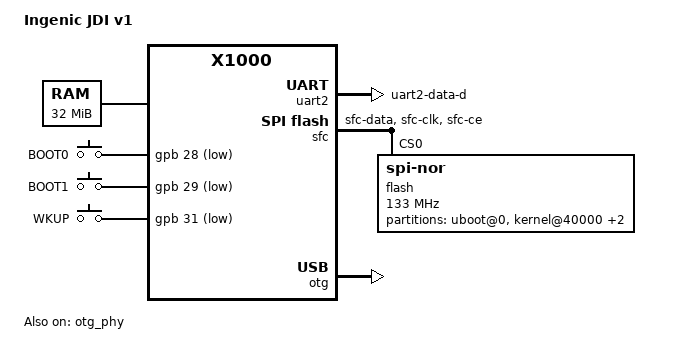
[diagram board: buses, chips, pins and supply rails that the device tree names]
// SPDX-License-Identifier: GPL-2.0
/dts-v1/;

#include "x1000.dtsi"
#include <dt-bindings/gpio/gpio.h>
#include <dt-bindings/input/input.h>
#include <dt-bindings/clock/ingenic,sysost.h>
#include <dt-bindings/interrupt-controller/irq.h>

/ {
	compatible = "ingenic,jdi-v1", "ingenic,x1000";
	model = "Ingenic JDI v1";

	aliases {
		serial2 = &uart2;
	};

	chosen {
		stdout-path = "serial2:115200n8";
	};

	memory {
		device_type = "memory";
		reg = <0x0 0x02000000>;
	};

	gpio_keys {
		compatible = "gpio-keys";

		btn_lf {
			wakeup-source;
			label = "BOOT0";
			linux,code = <KEY_F1>;
			gpios = <&gpb 28 GPIO_ACTIVE_LOW>;
		};

		btn_rf {
			wakeup-source;
			label = "BOOT1";
			linux,code = <KEY_F2>;
			gpios = <&gpb 29 GPIO_ACTIVE_LOW>;
		};

		btn_wkup {
			wakeup-source;
			label = "WKUP";
			linux,code = <KEY_F3>;
			gpios = <&gpb 31 GPIO_ACTIVE_LOW>;
		};
	};

};

&exclk {
	clock-frequency = <24000000>;
};

&cgu {
	assigned-clocks = <&cgu X1000_CLK_SSIMUX>, <&cgu X1000_CLK_RTC>;
	assigned-clock-parents = <&cgu X1000_CLK_SSIPLL_DIV2>, <&cgu X1000_CLK_EXCLK_DIV512>;
};

&ost {
	/* 1500 kHz for the system timer and clocksource */
	assigned-clocks = <&ost OST_CLK_EVENT_TIMER>, <&ost OST_CLK_GLOBAL_TIMER>;
	assigned-clock-rates = <1500000>, <1500000>;
};

&uart2 {
	status = "okay";

	pinctrl-names = "default";
	pinctrl-0 = <&pins_uart2>;
};

&sfc {
	status = "okay";

	#address-cells = <1>;
	#size-cells = <0>;

	pinctrl-names = "default";
	pinctrl-0 = <&pins_sfc>;

	flash: spinor@0 {
		compatible = "jedec,spi-nor";
		spi-max-frequency = <133000000>;
		reg = <0>;

		spi-rx-bus-width = <4>;
		spi-tx-bus-width = <4>;

		partitions {
			compatible = "fixed-partitions";
			#address-cells = <1>;
			#size-cells = <1>;

			uboot@0 {
				reg = <0x0 0x40000>;
			};

			kernel@40000 {
				reg = <0x40000 0x300000>;
				read-only;
			};

			rootfs@340000 {
				reg = <0x340000 0xA00000>;
			};

			overlay@D40000 {
				reg = <0xD40000 0x1000000>;
			};
		};
	};

};

&otg_phy {
	status = "okay";
};

&otg {
	status = "okay";
};

&pinctrl {
	pins_sfc: sfc {
		function = "sfc";
		groups = "sfc-data", "sfc-clk", "sfc-ce";
	};

	pins_uart2: uart2 {
		function = "uart2";
		groups = "uart2-data-d";
	};
};
